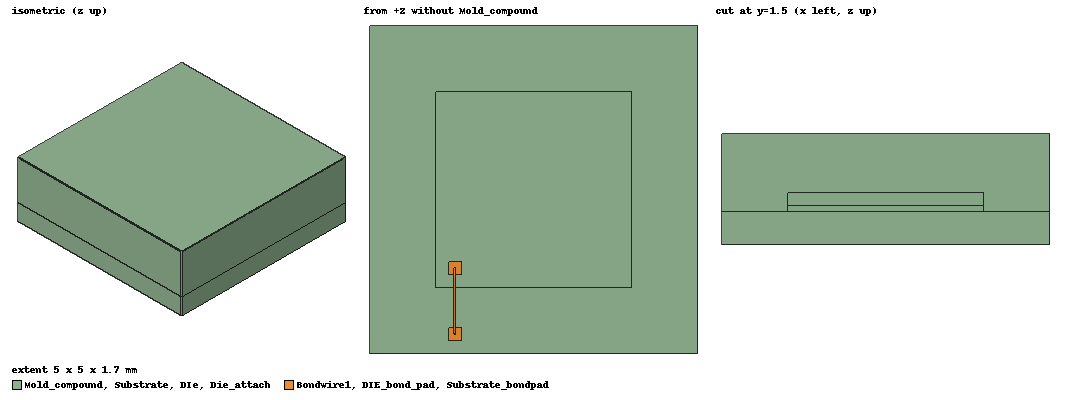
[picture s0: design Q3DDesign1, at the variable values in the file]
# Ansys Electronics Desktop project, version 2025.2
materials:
  vacuum: permittivity=1
  copper: permeability=0.999991 conductivity=58000000
  silicon: permittivity=11.9
  FR4_epoxy: permittivity=4.4 dielectric_loss_tangent=0.02
  modified_epoxy: permittivity=4.2 dielectric_loss_tangent=0.02
  epoxy_Kevlar_xy: permittivity=3.6

design Q3DDesign1 (Q3D Extractor, model units mm)
options: SParamCalcMethod=EqTransLine Calculate_Lossy_Dielectrics
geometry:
  DIe [silicon] = rectangle(corner=(0mm, 0mm, 0mm), x_size=3mm, y_size=3mm)
  DIe.thicken(0.2mm)
  Substrate [FR4_epoxy] = rectangle(corner=(-1mm, -1mm, -0.1mm), x_size=5mm, y_size=5mm)
  Substrate.thicken(-0.5mm)
  Die_attach [modified_epoxy] = rectangle(corner=(0mm, 0mm, 0mm), x_size=3mm, y_size=3mm)
  Die_attach.thicken(-0.1mm)
  DIE_bond_pad [copper] = rectangle(corner=(0.2mm, 0.2mm, 0.2mm), x_size=0.2mm, y_size=0.2mm)
  DIE_bond_pad.thicken(0.005mm)
  Substrate_bondpad [copper] = rectangle(corner=(0.2mm, -0.8mm, -0.1mm), x_size=0.2mm, y_size=0.2mm)
  Substrate_bondpad.thicken(0.005mm)
  Bondwire1 [copper] = bondwire(WireType=JEDEC_4Points WireDiameter=0.025mm NumSides=6 XPadPos=0.3mm YPadPos=0.3mm ZPadPos=0.205mm XDir=0mm YDir=-1mm ZDir=0mm Distance=1mm h1=0.2mm h2=0.3mm alpha=80deg beta=0 WhichAxis=Z)
  Mold_compound [epoxy_Kevlar_xy] = rectangle(corner=(-1mm, -1mm, -0.1mm), x_size=5mm, y_size=5mm)
  Mold_compound.thicken(1.2mm)
